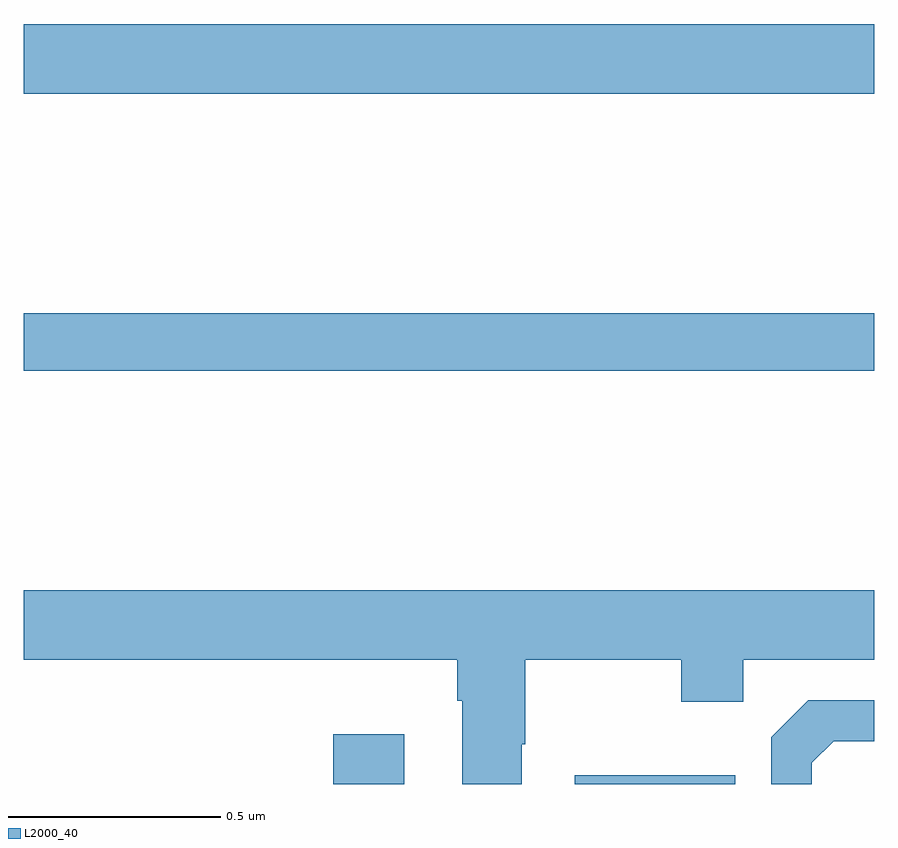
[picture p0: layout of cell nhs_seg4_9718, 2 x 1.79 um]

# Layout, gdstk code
import gdstk
lib = gdstk.Library(unit=1e-6, precision=1e-09)
def R(c, l, rs):  # rectangles x0, y0, x1, y1
    for r in rs: c.add(gdstk.rectangle(r[:2], r[2:], *l))
def P(c, l, *ps):  # polygons
    for p in ps: c.add(gdstk.Polygon(p, *l))
L2000_40 = (2000, 40)

nhs_seg4_9718 = lib.new_cell('nhs_seg4_9718')
R(nhs_seg4_9718, L2000_40, [(231.728,757.9,231.895,758.017), (232.296,757.9,232.673,757.921), (231,758.872,233,759.008), (231,759.524,233,759.688)])
P(nhs_seg4_9718, L2000_40, [(232.171,757.993),(232.179,757.993),(232.179,758.192),(232.546,758.192),(232.546,758.093),(232.692,758.093),(232.692,758.192),(233,758.192),(233,758.356),(231,758.356),(231,758.192),(232.019,758.192),(232.019,758.096),(232.031,758.096),(232.031,757.9),(232.171,757.9)],
  [(232.854,757.95),(232.905,758.001),(233,758.001),(233,758.097),(232.845,758.097),(232.758,758.01),(232.758,757.9),(232.854,757.9)])

lib.write_gds('nhs_seg4_9718.gds')
